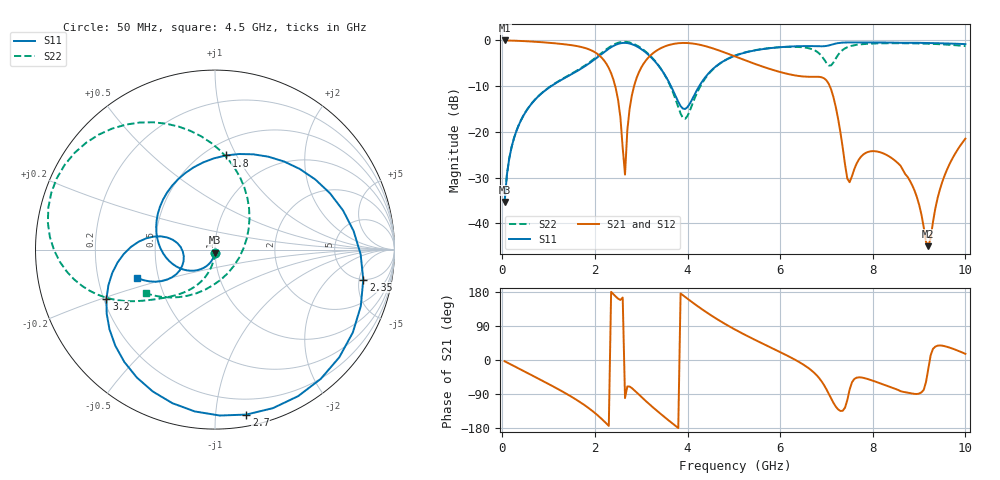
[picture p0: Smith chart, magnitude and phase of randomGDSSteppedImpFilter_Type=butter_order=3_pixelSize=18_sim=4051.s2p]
! freq	dB(S11)	phase(S11)	dB(S12)	phase(S12)
!  dB(S21)	phase(S21)	dB(S22)	phase(S22)
!S-par simulation data
#  GHz  S  DB  R 50
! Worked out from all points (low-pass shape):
!   200 points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, 50 MHz to 10 GHz, reference 50 ohm
!   highest |S21| = -0.01 dB at 50 MHz (marker M1); lowest = -45.0 dB at 9.2 GHz (marker M2)
!   |S21| within 3 dB of the highest: start of sweep to 2.061 GHz; 3.231 GHz to 4.898 GHz (1.668 GHz wide, 41 % of centre)
!   lowest |S11| = -35.3 dB at 50 MHz (marker M3), VSWR 1.03, Z = 49.8 - j1.7 ohm
!   |S11| at or under -10 dB: start of sweep to 1.054 GHz; 3.642 GHz to 4.253 GHz (610.4 MHz wide, 15.5 % of centre)
!   |S22| runs from -35.3 to -0.3 dB; largest |S21 - S12| = 0
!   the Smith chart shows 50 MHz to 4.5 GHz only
!   S11 on the Smith chart (normalised r, x): 50 MHz: 1.00, -0.03; 1.8 GHz: 0.62, +0.91; 2.35 GHz: 4.97, -5.74; 2.7 GHz: 0.08, -1.20; 3.2 GHz: 0.21, -0.21; 4.5 GHz: 0.38, -0.15
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0.05  -35.34 -94.2  -0.01 -3.2  -0.01 -3.2  -35.34 -91.8
0.45  -16.57 -129.9  -0.14 -28.5  -0.14 -28.5  -16.54 -108.1
1.75  -5.87 90.7  -1.55 -116.9  -1.55 -116.9  -5.72 -146.4
1.8  -5.55 83.4  -1.70 -121.2  -1.70 -121.2  -5.38 -147.7
2.35  -1.48 -11.5  -7.17 179.8  -7.17 179.8  -1.24 -175.5
2.65  -0.53 -69.9  -29.34 -100.5  -29.34 -100.5  -0.29 155.7
2.7  -0.58 -79.3  -19.65 -69.8  -19.65 -69.8  -0.34 150.6
3.2  -3.56 -155.7  -3.28 -119.3  -3.28 -119.3  -3.41 101.7
3.4  -5.89 -177.4  -1.82 -140.2  -1.82 -140.2  -5.83 81.9
3.95  -15.00 -167.8  -0.55 166.2  -0.55 166.2  -17.14 -40.3
4.5  -6.70 -160.0  -1.58 118.5  -1.58 118.5  -6.83 -147.7
5.05  -3.25 162.1  -3.59 78.7  -3.59 78.7  -3.22 172.8
5.95  -1.52 104.5  -6.77 23.8  -6.77 23.8  -1.52 122.8
6.7  -1.24 62.6  -7.95 -29.9  -7.95 -29.9  -1.97 60.0
6.95  -1.26 51.5  -8.30 -66.7  -8.30 -66.7  -4.17 -4.9
7.1  -0.96 45.6  -10.70 -101.4  -10.70 -101.4  -5.46 -92.3
7.35  -0.48 31.6  -23.38 -134.0  -23.38 -134.0  -2.08 160.8
7.5  -0.44 23.4  -31.02 -78.1  -31.02 -78.1  -1.30 133.4
7.7  -0.43 13.3  -26.04 -45.7  -26.04 -45.7  -0.89 110.5
8.35  -0.47 -16.3  -25.35 -70.0  -25.35 -70.0  -0.61 65.2
9.2  -0.56 -50.3  -45.00 -22.6  -45.00 -22.6  -0.72 15.2
10  -0.80 -80.0  -21.48 16.2  -21.48 16.2  -1.24 -40.6
